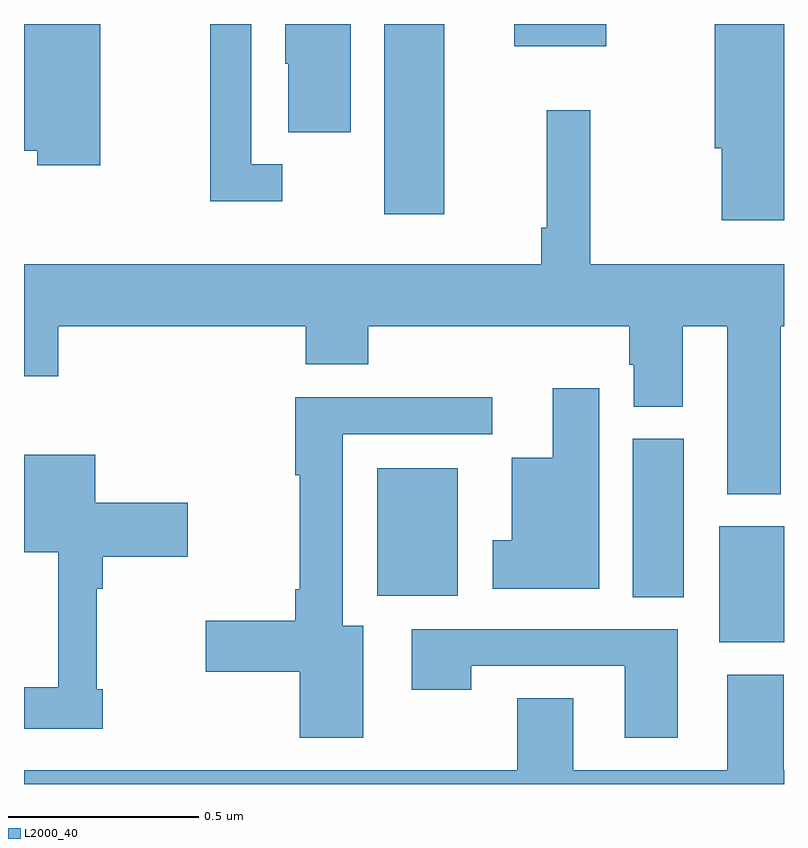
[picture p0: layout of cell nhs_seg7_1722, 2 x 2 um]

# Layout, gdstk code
import gdstk
lib = gdstk.Library(unit=1e-6, precision=1e-09)
def R(c, l, rs):  # rectangles x0, y0, x1, y1
    for r in rs: c.add(gdstk.rectangle(r[:2], r[2:], *l))
def P(c, l, *ps):  # polygons
    for p in ps: c.add(gdstk.Polygon(p, *l))
L2000_40 = (2000, 40)

nhs_seg7_1722 = lib.new_cell('nhs_seg7_1722')
R(nhs_seg7_1722, L2000_40, [(135.83,1078.373,136,1078.678), (135.602,1078.492,135.736,1078.908), (134.93,1078.496,135.142,1078.831), (134.948,1079.499,135.106,1080), (135.29,1079.942,135.532,1080)])
P(nhs_seg7_1722, L2000_40, [(134.68,1079.631),(134.598,1079.631),(134.598,1080),(134.49,1080),(134.49,1079.534),(134.68,1079.534)],
  [(134.2,1080),(134,1080),(134,1079.666),(134.035,1079.666),(134.035,1079.628),(134.2,1079.628)],
  [(134.86,1080),(134.687,1080),(134.687,1079.895),(134.696,1079.895),(134.696,1079.715),(134.86,1079.715)],
  [(136,1080),(135.818,1080),(135.818,1079.673),(135.836,1079.673),(135.836,1079.483),(136,1079.483)],
  [(135.991,1079.204),(136,1079.204),(136,1079.368),(135.49,1079.368),(135.49,1079.773),(135.376,1079.773),(135.376,1079.464),(135.361,1079.464),(135.361,1079.368),(134,1079.368),(134,1079.073),(134.09,1079.073),(134.09,1079.204),(134.741,1079.204),(134.741,1079.105),(134.906,1079.105),(134.906,1079.204),(135.593,1079.204),(135.593,1079.103),(135.605,1079.103),(135.605,1078.993),(135.733,1078.993),(135.733,1079.204),(135.851,1079.204),(135.851,1078.763),(135.991,1078.763)],
  [(135.514,1079.041),(135.392,1079.041),(135.392,1078.858),(135.284,1078.858),(135.284,1078.642),(135.233,1078.642),(135.233,1078.514),(135.514,1078.514)],
  [(134.893,1078.417),(134.839,1078.417),(134.839,1078.92),(135.232,1078.92),(135.232,1079.018),(134.714,1079.018),(134.714,1078.813),(134.726,1078.813),(134.726,1078.513),(134.714,1078.513),(134.714,1078.43),(134.478,1078.43),(134.478,1078.295),(134.726,1078.295),(134.726,1078.122),(134.893,1078.122)],
  [(134.207,1078.249),(134.192,1078.249),(134.192,1078.514),(134.207,1078.514),(134.207,1078.598),(134.431,1078.598),(134.431,1078.74),(134.188,1078.74),(134.188,1078.867),(134,1078.867),(134,1078.61),(134.09,1078.61),(134.09,1078.255),(134,1078.255),(134,1078.146),(134.207,1078.146)],
  [(135.721,1078.407),(135.021,1078.407),(135.021,1078.248),(135.177,1078.248),(135.177,1078.311),(135.581,1078.311),(135.581,1078.122),(135.721,1078.122)],
  [(136,1078.036),(135.999,1078.036),(135.999,1078.288),(135.851,1078.288),(135.851,1078.036),(135.445,1078.036),(135.445,1078.226),(135.298,1078.226),(135.298,1078.036),(134,1078.036),(134,1078),(136,1078)])

lib.write_gds('nhs_seg7_1722.gds')
